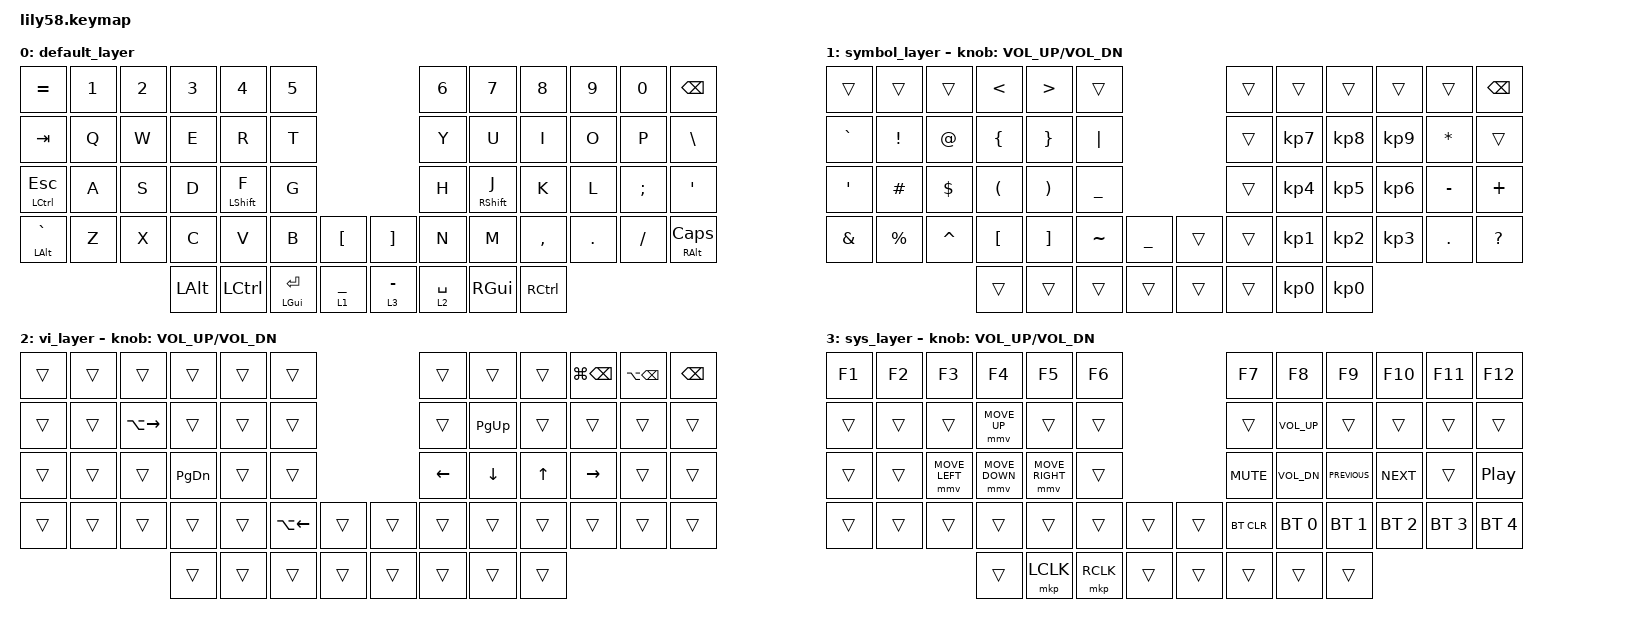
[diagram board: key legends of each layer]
/*
 * Copyright (c) 2020 The ZMK Contributors
 *
 * SPDX-License-Identifier: MIT
 */

#include <behaviors.dtsi>
#include <dt-bindings/zmk/bt.h>
#include <dt-bindings/zmk/keys.h>
#include <dt-bindings/zmk/pointing.h>

/ {
    behaviors {
        hml: home_row_mod_left {
            compatible = "zmk,behavior-hold-tap";
            #binding-cells = <2>;
            flavor = "balanced";
            require-prior-idle-ms = <30>;
            tapping-term-ms = <200>;
            quick-tap-ms = <175>;
            bindings = <&kp>, <&kp>;

            hold-trigger-key-positions = <6 7 8 9 10 11 18 19 20 21 22 23 30 31 32 33 34 35 43 44 45 46 47 48 49 54 55 56 57 50 51 52 53 42 53>;
            hold-trigger-on-release;
        };

        hmr: home_row_mod_right {
            compatible = "zmk,behavior-hold-tap";
            #binding-cells = <2>;
            flavor = "balanced";
            require-prior-idle-ms = <30>;
            tapping-term-ms = <200>;
            quick-tap-ms = <175>;
            bindings = <&kp>, <&kp>;

            hold-trigger-key-positions = <0 1 2 3 4 5 12 13 14 15 16 17 24 25 26 27 28 29 36 37 38 39 40 41 42 50 51 52 53 55 56 57 43 54>;
            hold-trigger-on-release;
        };
    };

    combos {
        compatible = "zmk,combos";

        home_layer {
            // Thumb combo to jump back to the base layer.

            bindings = <&to 0>;
            key-positions = <53 54>;
        };

        combo_copy {
            // A + C = Cmd+C

            bindings = <&kp LG(C)>;
            key-positions = <25 39>;
        };

        combo_paste {
            // A + V = Cmd+V

            bindings = <&kp LG(V)>;
            key-positions = <25 40>;
        };

        combo_cut {
            // A + X = Cmd+X

            bindings = <&kp LG(X)>;
            key-positions = <25 38>;
        };

        combo_undo {
            // W + E = Cmd+Z

            bindings = <&kp LG(Z)>;
            key-positions = <14 15>;
        };

        combo_redo {
            // W + R = Cmd+Shift+Z

            bindings = <&kp LG(LS(Z))>;
            key-positions = <14 16>;
        };

        combo_select_all {
            // Z + V = Cmd+A

            bindings = <&kp LG(A)>;
            key-positions = <37 40>;
        };

        combo_ctrl_space {
            // D + Space = Ctrl+Space

            bindings = <&kp LC(SPACE)>;
            key-positions = <27 55>;
        };

        combo_gui_rtn {
            // A + Enter = Cmd+Enter

            bindings = <&kp LC(ENTER)>;
            key-positions = <27 52>;
        };

        spotlight {
            bindings = <&kp RG(SPACE)>;
            key-positions = <34 55>;
        };
    };

    behaviors {
    };

    keymap {
        compatible = "zmk,keymap";

        /*
          0  1  2  3  4  5        6  7  8  9 10 11
          12 13 14 15 16 17       18 19 20 21 22 23
          24 25 26 27 28 29       30 31 32 33 34 35
          36 37 38 39 40 41 42   43 44 45 46 47 48 49
                   50 51 52 53   54 55 56 57
        */

        default_layer {
            // ------------------------------------------------------------------------------------------------------------
            // |  EQUAL|  1  |  2  |  3   |  4   |  5   |                   |  6   |  7    |  8    |  9   |   0   |  BSPC |
            // |  TAB  |  Q  |  W  |  E   |  R   |  T   |                   |  Y   |  U    |  I    |  O   |   P   |   -   |
            // |  ESC  |  A  |  S  |  D   |  F   |  G   |                   |  H   |  J    |  K    |  L   |   ;   |   '   |
            // |   `   |  Z  |  X  |  C   |  V   |  B   |   "["  |  |  "]"  |  N   |  M    |  ,    |  .   |   /   | SHIFT |
            //                     | MEH+ | MEH  | ENTER/1|  -/1 |  |   2   | SPACE|   3   |       |

            bindings = <
&kp EQUAL           &kp N1  &kp N2  &kp N3        &kp N4         &kp N5                                               &kp N6       &kp N7         &kp N8     &kp N9   &kp N0         &kp BACKSPACE
&kp TAB             &kp Q   &kp W   &kp E         &kp R          &kp T                                                &kp Y        &kp U          &kp I      &kp O    &kp P          &kp BACKSLASH
&mt LCTRL ESC       &kp A   &kp S   &kp D         &hml LSHIFT F  &kp G                                                &kp H        &hmr RSHIFT J  &kp K      &kp L    &kp SEMICOLON  &kp SQT
&mt LEFT_ALT GRAVE  &kp Z   &kp X   &kp C         &kp V          &kp B               &kp LBKT            &kp RBKT     &kp N        &kp M          &kp COMMA  &kp DOT  &kp FSLH       &mt RIGHT_ALT CAPSLOCK
                                    &kp LEFT_ALT  &kp LCTRL      &mt LEFT_GUI ENTER  &lt 1 UNDERSCORE    &lt 3 MINUS  &lt 2 SPACE  &kp RIGHT_GUI  &kp RCTRL
            >;
        };

        symbol_layer {
            // ------------------------------------------------------------------------------------------------------------
            // |      |      |     |   <  |  >   |      |                   |  7   |   8   |   9   |      |       |       |
            // |   `  |   !  |  @  |  {   |  }   |  |   |                   |  4   |   5   |   6   |  *   |       |       |
            // |      |   #  |  $  |  (   |  )   |  _   |                   |  1   |   2   |   3   |  -   |  +    |       |
            // |   &  |   %  |  ^  |  [   |  ]   |  ~   |        |  |       |  =   |   0   |   .   |  /   |       |       |
            //                     |      |      |      |        |  |       |      |       |       |

            bindings = <
&trans            &trans     &trans      &kp LT    &kp GT    &trans                                    &trans  &trans     &trans           &trans     &trans      &kp BACKSPACE
&kp GRAVE         &kp EXCL   &kp AT      &kp LBRC  &kp RBRC  &kp PIPE                                  &trans  &kp KP_N7  &kp KP_NUMBER_8  &kp KP_N9  &kp ASTRK   &trans
&kp SINGLE_QUOTE  &kp HASH   &kp DOLLAR  &kp LPAR  &kp RPAR  &kp UNDERSCORE                            &trans  &kp KP_N4  &kp KP_N5        &kp KP_N6  &kp MINUS   &kp PLUS
&kp AMPS          &kp PRCNT  &kp CARET   &kp LBKT  &kp RBKT  &kp TILDE       &kp UNDERSCORE    &trans  &trans  &kp KP_N1  &kp KP_N2        &kp KP_N3  &kp PERIOD  &kp QUESTION
                                         &trans    &trans    &trans          &trans            &trans  &trans  &kp KP_N0  &kp KP_NUMBER_0
            >;

            sensor-bindings = <&inc_dec_kp C_VOL_UP C_VOL_DN>;
        };

        vi_layer {
            bindings = <
&trans  &trans  &trans         &trans         &trans  &trans                          &trans    &trans     &trans        &kp LG(BACKSPACE)  &kp LA(BACKSPACE)  &kp BACKSPACE
&trans  &trans  &kp LA(RIGHT)  &trans         &trans  &trans                          &trans    &kp PG_UP  &trans        &trans             &trans             &trans
&trans  &trans  &trans         &kp PAGE_DOWN  &trans  &trans                          &kp LEFT  &kp DOWN   &kp UP_ARROW  &kp RIGHT          &trans             &trans
&trans  &trans  &trans         &trans         &trans  &kp LA(LEFT)  &trans    &trans  &trans    &trans     &trans        &trans             &trans             &trans
                               &trans         &trans  &trans        &trans    &trans  &trans    &trans     &trans
            >;

            sensor-bindings = <&inc_dec_kp C_VOL_UP C_VOL_DN>;
        };

        sys_layer {
            bindings = <
&kp F1  &kp F2  &kp F3          &kp F4          &kp F5           &kp F6                       &kp F7      &kp F8        &kp F9          &kp F10       &kp F11       &kp F12
&trans  &trans  &trans          &mmv MOVE_UP    &trans           &trans                       &trans      &kp C_VOL_UP  &trans          &trans        &trans        &trans
&trans  &trans  &mmv MOVE_LEFT  &mmv MOVE_DOWN  &mmv MOVE_RIGHT  &trans                       &kp C_MUTE  &kp C_VOL_DN  &kp C_PREVIOUS  &kp C_NEXT    &trans        &kp C_PLAY_PAUSE
&trans  &trans  &trans          &trans          &trans           &trans     &trans    &trans  &bt BT_CLR  &bt BT_SEL 0  &bt BT_SEL 1    &bt BT_SEL 2  &bt BT_SEL 3  &bt BT_SEL 4
                                &trans          &mkp LCLK        &mkp RCLK  &trans    &trans  &trans      &trans        &trans
            >;

            sensor-bindings = <&inc_dec_kp C_VOL_UP C_VOL_DN>;
        };
    };
};
